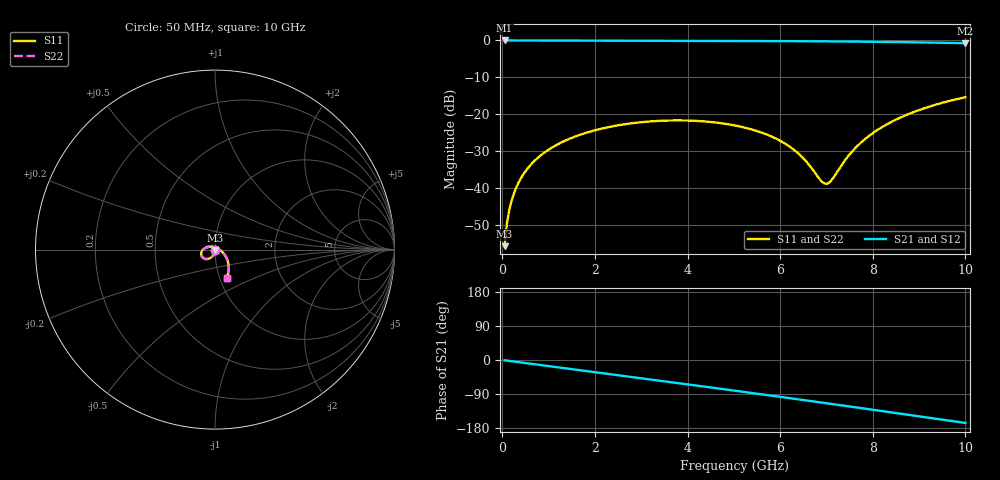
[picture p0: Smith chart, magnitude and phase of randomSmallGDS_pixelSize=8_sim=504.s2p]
! freq	dB(S11)	phase(S11)	dB(S12)	phase(S12)
!  dB(S21)	phase(S21)	dB(S22)	phase(S22)
!S-par simulation data
#  GHz  S  DB  R 50
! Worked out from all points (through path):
!   200 points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, 50 MHz to 10 GHz, reference 50 ohm
!   highest |S21| = 0.00 dB at 50 MHz (marker M1); lowest = -0.7 dB at 10 GHz (marker M2)
!   group delay of S21, straight-line fit = 46 ps
!   lowest |S11| = -55.7 dB at 50 MHz (marker M3), VSWR 1.00, Z = 50 - j0.164 ohm
!   |S11| at or under -10 dB: start of sweep to end of sweep
!   |S22| runs from -55.7 to -15.4 dB; largest |S21 - S12| = 0
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0.05  -55.70 -91.0  -0.00 -0.8  -0.00 -0.8  -55.71 -91.0
0.1  -49.58 -92.7  -0.00 -1.6  -0.00 -1.6  -49.58 -92.7
0.2  -43.42 -94.5  -0.00 -3.2  -0.00 -3.2  -43.42 -94.5
0.35  -38.51 -96.7  -0.00 -5.7  -0.00 -5.7  -38.51 -96.7
0.5  -35.42 -99.1  -0.01 -8.1  -0.01 -8.1  -35.42 -99.1
0.7  -32.54 -102.3  -0.01 -11.3  -0.01 -11.3  -32.54 -102.3
1  -29.57 -107.2  -0.02 -16.1  -0.02 -16.1  -29.57 -107.2
1.75  -25.24 -119.5  -0.04 -28.1  -0.04 -28.1  -25.24 -119.6
2.5  -22.98 -131.9  -0.06 -40.2  -0.06 -40.2  -22.98 -131.9
3.4  -21.76 -146.9  -0.09 -54.6  -0.09 -54.6  -21.76 -146.9
4.25  -21.82 -161.5  -0.12 -68.4  -0.12 -68.4  -21.82 -161.6
5.05  -23.09 -176.4  -0.14 -81.4  -0.14 -81.4  -23.09 -176.4
5.6  -24.95 172.1  -0.16 -90.5  -0.16 -90.5  -24.95 171.9
6.05  -27.51 160.4  -0.18 -98.0  -0.18 -98.0  -27.51 160.1
6.4  -30.69 147.1  -0.20 -103.9  -0.20 -103.9  -30.68 146.8
6.7  -34.93 125.3  -0.22 -109.0  -0.22 -109.0  -34.88 124.8
6.9  -38.24 92.9  -0.24 -112.4  -0.24 -112.4  -38.11 92.5
7.05  -38.58 54.9  -0.25 -114.9  -0.25 -114.9  -38.42 55.0
7.65  -28.77 -13.0  -0.31 -125.2  -0.31 -125.2  -28.75 -12.6
8.35  -22.40 -34.6  -0.40 -137.3  -0.40 -137.3  -22.39 -34.4
9.1  -18.41 -50.8  -0.54 -150.4  -0.54 -150.4  -18.40 -50.6
10  -15.38 -67.7  -0.74 -166.1  -0.74 -166.1  -15.37 -67.6
